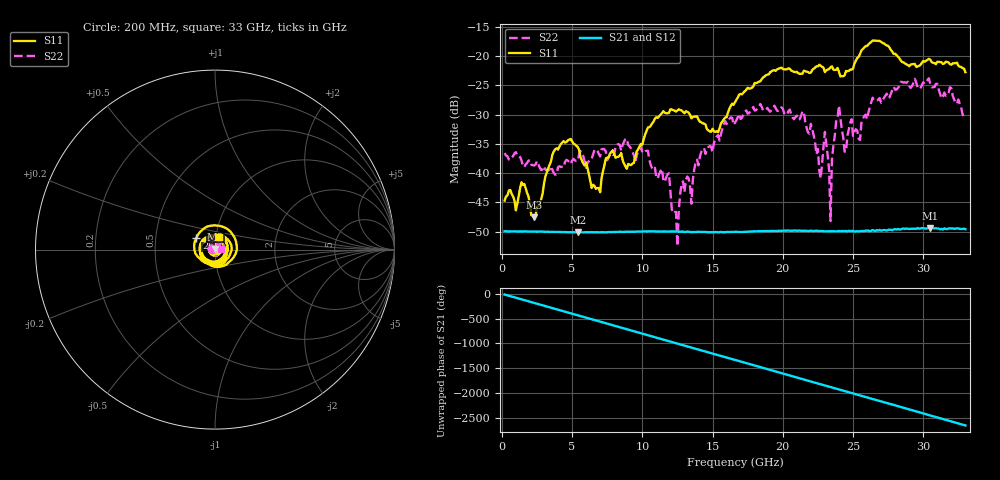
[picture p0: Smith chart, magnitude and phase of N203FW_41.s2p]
# GHZ S RI R 50
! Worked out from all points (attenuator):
!   329 points, 200 MHz to 33 GHz, reference 50 ohm
!   highest |S21| = -49.36 dB at 30.5 GHz (marker M1); lowest = -50.1 dB at 5.4 GHz (marker M2)
!   lowest |S11| = -47.5 dB at 2.3 GHz (marker M3), VSWR 1.01, Z = 50.1 + j0.405 ohm
!   |S11| at or under -10 dB: start of sweep to end of sweep
!   |S22| runs from -52.5 to -23.8 dB; largest |S21 - S12| = 8.8e-05
!   S11 on the Smith chart (normalised r, x): 200 MHz: 1.01, +0.00; 26 GHz: 0.81, +0.10; 33 GHz: 1.03, +0.15
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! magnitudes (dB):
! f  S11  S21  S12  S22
! 200 MHz  -44.7  -49.9  -49.9  -36.6
! 2.3 GHz  -47.5  -50.0  -50.0  -38.7
! 3.7 GHz  -36.3  -50.1  -50.0  -40.0
! 5.4 GHz  -35.5  -50.1  -50.1  -37.9
! 5.7 GHz  -37.9  -50.1  -50.1  -36.6
! 7 GHz  -43.3  -50.1  -50.1  -37.1
! 11.2 GHz  -30.3  -50.0  -50.0  -40.2
! 11.9 GHz  -29.7  -50.0  -50.0  -40.0
! 12.5 GHz  -29.3  -50.0  -50.0  -52.5
! 12.9 GHz  -29.5  -50.0  -50.0  -41.4
! 16.6 GHz  -27.9  -50.0  -50.0  -31.4
! 22.1 GHz  -22.4  -49.9  -49.9  -32.5
! 22.7 GHz  -21.7  -49.9  -49.9  -40.9
! 23 GHz  -22.7  -50.0  -49.9  -33.0
! 23.4 GHz  -21.9  -49.9  -49.9  -48.2
! 23.5 GHz  -21.8  -49.9  -49.9  -37.7
! 24 GHz  -22.7  -49.9  -49.9  -28.5
! 24.4 GHz  -23.3  -49.9  -49.8  -36.3
! 26 GHz  -18.3  -49.9  -49.8  -30.8
! 27.6 GHz  -18.6  -49.7  -49.7  -27.1
! 30.5 GHz  -20.6  -49.4  -49.5  -24.8
! 33 GHz  -22.8  -49.6  -49.6  -29.9
